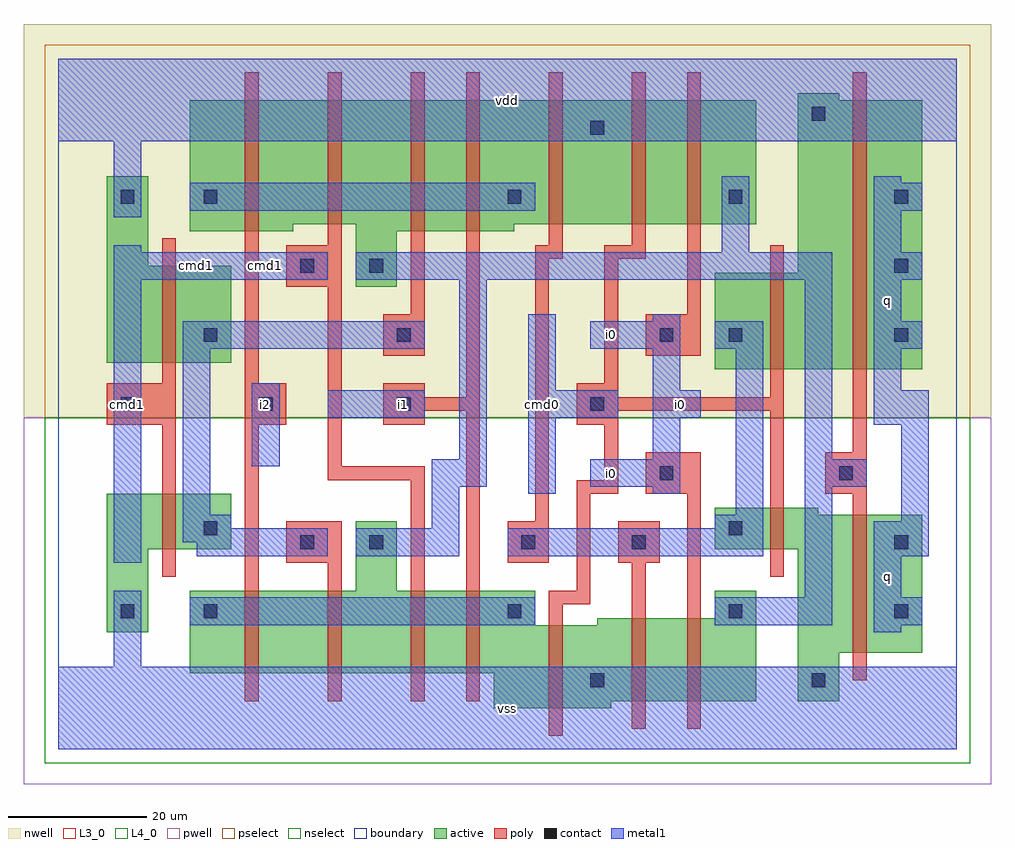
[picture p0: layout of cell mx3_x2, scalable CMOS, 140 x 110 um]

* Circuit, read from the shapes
.subckt mx3_x2 cmd0 cmd1 i0 i1 i2 q vdd vss
M1 n1 cmd1 vss VSUBS nfet w=8u l=2u
M2 n2 i2 n3 VSUBS nfet w=12u l=2u
M3 n4 n1 n2 VSUBS nfet w=12u l=2u
M4 n5 cmd1 n4 VSUBS nfet w=12u l=2u
M5 n3 i1 n5 VSUBS nfet w=12u l=2u
M6 vss cmd0 n3 VSUBS nfet w=12u l=2u
M7 n6 n7 vss VSUBS nfet w=12u l=2u
M8 n4 i0 n6 VSUBS nfet w=12u l=2u
M9 vss cmd0 n7 VSUBS nfet w=6u l=2u
M10 q n4 vss VSUBS nfet w=20u l=2u
M11 n1 cmd1 vdd n8 pfet w=14u l=2u
M12 n9 i2 n10 n8 pfet w=19u l=2u
M13 n4 cmd1 n9 n8 pfet w=18u l=2u
M14 n11 n1 n4 n8 pfet w=19u l=2u
M15 n10 i1 n11 n8 pfet w=19u l=2u
M16 vdd n7 n10 n8 pfet w=18u l=2u
M17 n12 cmd0 vdd n8 pfet w=18u l=2u
M18 n4 i0 n12 n8 pfet w=18u l=2u
M19 vdd cmd0 n7 n8 pfet w=14u l=2u
M20 q n4 vdd n8 pfet w=39u l=2u
.ends

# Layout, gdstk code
import gdstk
lib = gdstk.Library(unit=1e-6, precision=1e-09)
def R(c, l, rs):  # rectangles x0, y0, x1, y1
    for r in rs: c.add(gdstk.rectangle(r[:2], r[2:], *l))
def A(c, l, x, y, w, h, nx, ny, dx, dy):  # array of equal rectangles
    R(c, l, [(x+i*dx, y+j*dy, x+i*dx+w, y+j*dy+h) for i in range(nx) for j in range(ny)])
L3_0 = (3, 0)
L4_0 = (4, 0)
contact = (25, 0)
pwell = (41, 0)
nwell = (42, 0)
active = (43, 0)
pselect = (44, 0)
nselect = (45, 0)
poly = (46, 0)
metal1 = (49, 0)
boundary = (63, 0)

mx3_x2 = lib.new_cell('mx3_x2')
R(mx3_x2, L3_0, [(63,6,80,7), (63,7,101,11), (107,7,113,14), (19,11,101,18), (107,14,125,29), (7,17,13,29), (19,18,69,23), (78,18,101,19), (95,19,101,23), (43,23,49,33), (7,29,25,37), (95,29,125,34), (95,34,110,35)])
R(mx3_x2, L4_0, [(95,55,125,69), (7,56,25,70), (43,67,49,75), (107,69,125,94), (7,70,13,83), (19,75,34,76), (43,75,66,76), (19,76,101,94), (107,94,113,95)])
A(mx3_x2, contact, 77, 9, 2, 2, 1, 3, 0, 40)
A(mx3_x2, contact, 9, 49, 2, 2, 3, 1, 20, 0)
A(mx3_x2, contact, 121, 59, 2, 2, 1, 3, 0, 10)
R(mx3_x2, contact, [(109,9,111,11), (9,19,11,21), (21,19,23,21), (65,19,67,21), (97,19,99,21), (121,19,123,21), (35,29,37,31), (45,29,47,31), (67,29,69,31), (83,29,85,31), (121,29,123,31), (21,31,23,33), (97,31,99,33), (87,39,89,41), (113,39,115,41), (21,59,23,61), (49,59,51,61), (87,59,89,61), (97,59,99,61), (35,69,37,71), (45,69,47,71), (9,79,11,81), (21,79,23,81), (65,79,67,81), (97,79,99,81), (109,91,111,93)])
R(mx3_x2, pwell, [(-5,-5,135,48)])
R(mx3_x2, nwell, [(-5,48,135,105)])
R(mx3_x2, active, [(63,6,80,7), (63,7,101,11), (107,7,113,14), (19,11,101,18), (107,14,125,29), (7,17,13,29), (19,18,69,23), (78,18,101,19), (95,19,101,23), (43,23,49,33), (7,29,25,37), (95,29,125,34), (95,34,110,35), (95,55,125,69), (7,56,25,70), (43,67,49,75), (107,69,125,94), (7,70,13,83), (19,75,34,76), (43,75,66,76), (19,76,101,94), (107,94,113,95)])
R(mx3_x2, pselect, [(-2,48,132,102)])
R(mx3_x2, nselect, [(-2,-2,132,48)])
R(mx3_x2, poly, [(71,2,73,21), (83,3,85,27), (91,3,93,37), (27,7,29,47), (39,7,41,27), (51,7,53,39), (59,7,61,49), (115,10,117,37), (71,21,77,23), (75,23,77,37), (15,25,17,47), (103,25,105,49), (33,27,41,33), (65,27,71,33), (81,27,87,33), (69,33,71,71), (75,37,81,39), (85,37,93,43), (111,37,117,43), (39,39,53,41), (79,39,81,47), (39,41,41,67), (115,43,117,98), (7,47,17,53), (27,47,33,53), (47,47,53,49), (75,47,81,49), (47,49,61,51), (75,49,105,51), (47,51,53,53), (59,51,61,98), (75,51,81,53), (103,51,105,73), (15,53,17,74), (27,53,29,98), (79,53,81,71), (47,57,53,63), (85,57,93,63), (51,63,53,98), (91,63,93,98), (33,67,41,73), (69,71,73,73), (79,71,85,73), (39,73,41,98), (71,73,73,98), (83,73,85,98)])
A(mx3_x2, metal1, 118, 52, 4, 6, 1, 3, 0, 10)
A(mx3_x2, metal1, 118, 58, 7, 4, 1, 3, 0, 10)
R(mx3_x2, metal1, [(0,0,130,12), (8,12,12,23), (118,17,122,18), (19,18,69,22), (95,18,112,22), (118,18,125,22), (108,22,112,38), (118,22,122,28), (8,27,12,68), (20,28,39,30), (43,28,58,32), (65,28,102,32), (118,28,126,33), (18,30,39,32), (18,32,25,34), (54,32,58,38), (95,32,102,34), (122,33,126,47), (18,34,22,58), (98,34,102,58), (68,37,72,48), (86,37,90,38), (54,38,62,42), (77,38,90,42), (108,38,117,42), (28,41,32,53), (58,42,62,68), (86,42,90,48), (108,42,112,68), (118,47,126,52), (39,48,53,52), (68,48,81,52), (86,48,93,52), (68,52,72,63), (86,52,90,58), (18,58,53,62), (77,58,90,62), (95,58,102,62), (86,62,90,63), (8,68,39,72), (43,68,112,72), (8,72,12,73), (96,72,100,83), (8,77,12,88), (19,78,69,82), (118,82,122,83), (0,88,130,100)])
R(mx3_x2, boundary, [(0,0,130,100)])
mx3_x2.add(gdstk.Label('cmd1', (10,50), layer=49, texttype=0))
mx3_x2.add(gdstk.Label('cmd1', (20,70), layer=49, texttype=0))
mx3_x2.add(gdstk.Label('i2', (30,50), layer=49, texttype=0))
mx3_x2.add(gdstk.Label('cmd1', (30,70), layer=49, texttype=0))
mx3_x2.add(gdstk.Label('vss', (65,6), layer=49, texttype=0))
mx3_x2.add(gdstk.Label('i1', (50,50), layer=49, texttype=0))
mx3_x2.add(gdstk.Label('cmd0', (70,50), layer=49, texttype=0))
mx3_x2.add(gdstk.Label('vdd', (65,94), layer=49, texttype=0))
mx3_x2.add(gdstk.Label('i0', (80,40), layer=49, texttype=0))
mx3_x2.add(gdstk.Label('i0', (90,50), layer=49, texttype=0))
mx3_x2.add(gdstk.Label('i0', (80,60), layer=49, texttype=0))
mx3_x2.add(gdstk.Label('q', (120,25), layer=49, texttype=0))
mx3_x2.add(gdstk.Label('q', (120,65), layer=49, texttype=0))

lib.write_gds('mx3_x2.gds')
